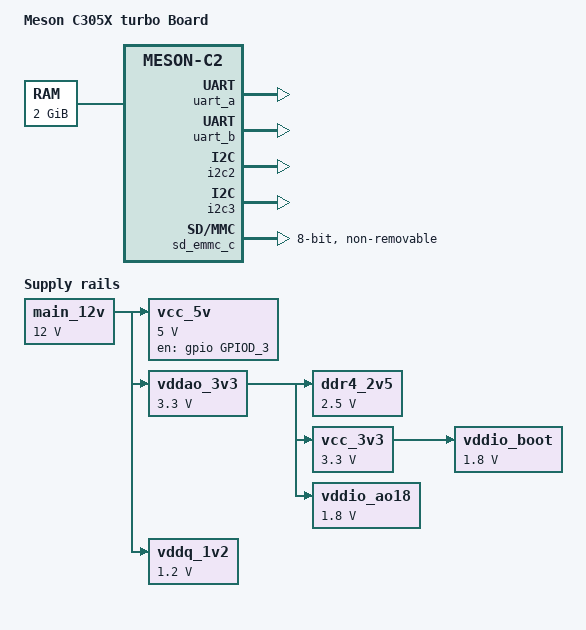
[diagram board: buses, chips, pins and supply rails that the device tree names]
// SPDX-License-Identifier: (GPL-2.0+ OR MIT)
/*
 * Copyright (c) 2020 Amlogic, Inc. All rights reserved.
 */

/dts-v1/;

#include "meson-c2.dtsi"

/ {
	compatible = "amlogic,c305x-turbo", "amlogic,c2";
	model = "Meson C305X turbo Board";

	aliases {
		serial0 = &uart_b;
		serial1 = &uart_a;
		i2c0 = &i2c0;
		i2c1 = &i2c1;
		i2c2 = &i2c2;
		i2c3 = &i2c3;
		i2c4 = &i2c4;
	};

	chosen {
		stdout-path = "serial0:115200n8";
	};

	memory@0 {
		device_type = "memory";
		reg = <0x0 0x0 0x0 0x80000000>;
	};

	main_12v: regulator-main_12v {
		compatible = "regulator-fixed";
		regulator-name = "12V";
		regulator-min-microvolt = <12000000>;
		regulator-max-microvolt = <12000000>;
		regulator-always-on;
	};

	vcc_5v: regulator-vcc_5v {
		compatible = "regulator-fixed";
		regulator-name = "VCC5V";
		regulator-min-microvolt = <5000000>;
		regulator-max-microvolt = <5000000>;
		vin-supply = <&main_12v>;

		gpio = <&gpio GPIOD_3 GPIO_ACTIVE_HIGH>;
		enable-active-high;
	};

	vddao_3v3: regulator-vddao_3v3 {
		compatible = "regulator-fixed";
		regulator-name = "VDDAO_3V3";
		regulator-min-microvolt = <3300000>;
		regulator-max-microvolt = <3300000>;
		vin-supply = <&main_12v>;
		regulator-always-on;
	};

	/* 1v2 or 2v5 for ddr */
	vddq_1v2: regulator-vddq_1v2 {
		compatible = "regulator-fixed";
		regulator-name = "VDDQ_1V2";
		regulator-min-microvolt = <1200000>;
		regulator-max-microvolt = <1200000>;
		vin-supply = <&main_12v>;
		regulator-always-on;
	};

	ddr4_2v5: regulator-ddr4_2v5 {
		compatible = "regulator-fixed";
		regulator-name = "DDR4_2V5";
		regulator-min-microvolt = <2500000>;
		regulator-max-microvolt = <2500000>;
		vin-supply = <&vddao_3v3>;
		regulator-always-on;
	};

	vcc_3v3: regulator-vcc_3v3 {
		compatible = "regulator-fixed";
		regulator-name = "VCC_3V3";
		regulator-min-microvolt = <3300000>;
		regulator-max-microvolt = <3300000>;
		vin-supply = <&vddao_3v3>;
		regulator-always-on;
	};

	vddio_ao18: regulator-vddio_ao18 {
		compatible = "regulator-fixed";
		regulator-name = "VDDIO_AO18";
		regulator-min-microvolt = <1800000>;
		regulator-max-microvolt = <1800000>;
		vin-supply = <&vddao_3v3>;
		regulator-always-on;
	};

	/* 1v8 for eMMC */
	vddio_boot: regulator-vddio_boot {
		compatible = "regulator-fixed";
		regulator-name = "VDDIO_BOOT";
		regulator-min-microvolt = <1800000>;
		regulator-max-microvolt = <1800000>;
		vin-supply = <&vcc_3v3>;
		regulator-always-on;
	};

};

&uart_a {
	status = "okay";
};

&uart_b {
	status = "okay";
};

&i2c2 {
	status = "okay";
	pinctrl-names = "default";
	pinctrl-0 = <&i2c2_master_pins2>;
};

&i2c3 {
	status = "okay";
	pinctrl-names = "default";
	pinctrl-0 = <&i2c3_master_pins2>;
};

&sd_emmc_c {
	status = "okay";
	pinctrl-0 = <&emmc_pins>;
	pinctrl-1 = <&emmc_clk_gate_pins>;
	pinctrl-names = "default", "clk-gate";
	cap-mmc-highspeed;
	non-removable;
	// mmc-ddr-1_8v;
	// mmc-hs200-1_8v;
	// mmc-hs400-1_8v;
	max-frequency = <200000000>;
	disable-wp;
	bus-width = <8>;
};
